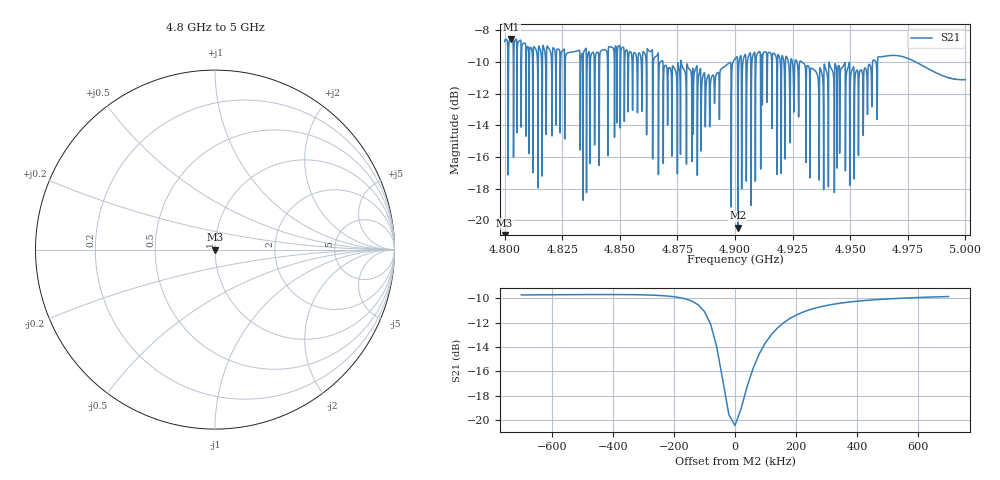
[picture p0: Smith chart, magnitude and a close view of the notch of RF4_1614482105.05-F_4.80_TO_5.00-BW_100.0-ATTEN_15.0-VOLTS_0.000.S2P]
!Keysight Technologies,E5063A,MY54502693,A.05.04
!Date: Sat Feb 27 20:15:24 2021
!Data & Calibration Information:
!Freq	S11:NONE(--)	S21:NONE(--)	S12:NONE(--)	S22:NONE(--)
# Hz S RI R 50
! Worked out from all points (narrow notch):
!   10000 points, 4.8 GHz to 5 GHz, reference 50 ohm
!   highest |S21| = -8.56 dB at 4.8028 GHz (marker M1); lowest = -20.5 dB at 4.9012 GHz (marker M2)
!   notch at M2: 10.4 dB deep, 119 kHz wide at half that depth
!   lowest |S11| = - dB at 4.8 GHz (marker M3), VSWR 1.00, Z = 50 + j0 ohm
!   |S11| at or under -10 dB: start of sweep to end of sweep
!   S12 and S22 are empty: the file has one direction only
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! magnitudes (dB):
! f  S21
! 4.8 GHz  -8.7
! 4.8028 GHz  -8.6
! 4.8154 GHz  -9.2
! 4.8192 GHz  -9.2
! 4.8214 GHz  -9.2
! 4.8316 GHz  -9.3
! 4.8333 GHz  -9.6
! 4.8461 GHz  -9.1
! 4.8667 GHz  -9.5
! 4.88 GHz  -10.4
! 4.8846 GHz  -10.6
! 4.9 GHz  -9.8
! 4.9012 GHz  -20.5
! 4.9129 GHz  -9.4
! 4.9208 GHz  -9.7
! 4.929 GHz  -10.0
! 4.9334 GHz  -10.4
! 4.9435 GHz  -10.1
! 4.9468 GHz  -10.3
! 4.9527 GHz  -10.6
! 4.9667 GHz  -9.6
! 5 GHz  -11.1
